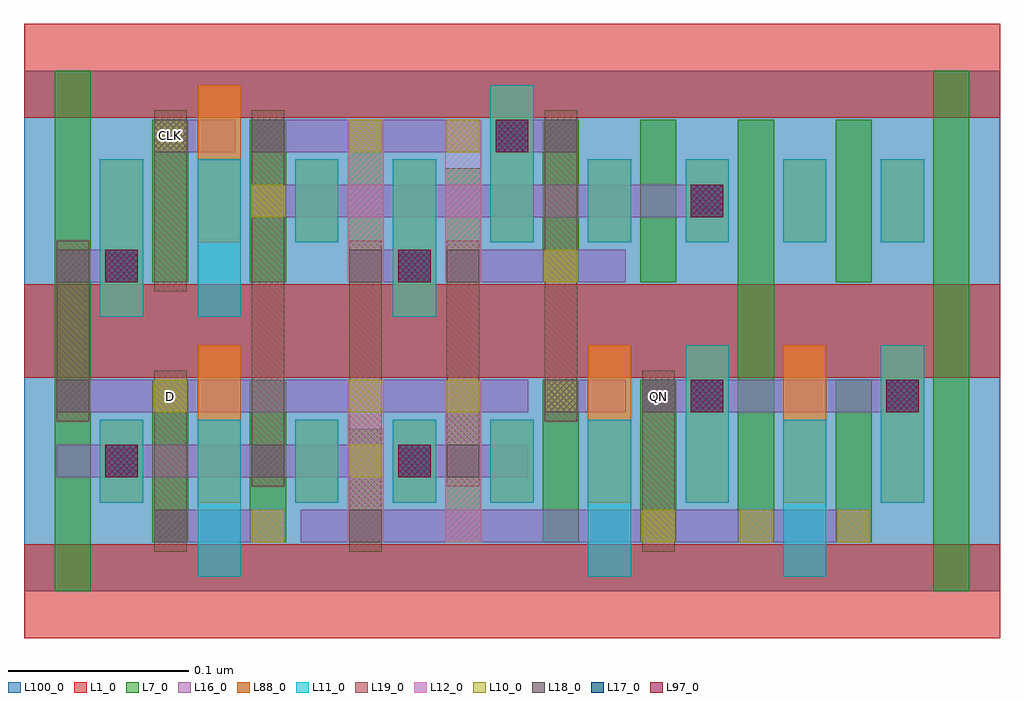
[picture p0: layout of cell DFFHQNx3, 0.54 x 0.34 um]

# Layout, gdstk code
import gdstk
lib = gdstk.Library(unit=1e-6, precision=2.5e-10)
def R(c, l, rs):  # rectangles x0, y0, x1, y1
    for r in rs: c.add(gdstk.rectangle(r[:2], r[2:], *l))
def A(c, l, x, y, w, h, nx, ny, dx, dy):  # array of equal rectangles
    R(c, l, [(x+i*dx, y+j*dy, x+i*dx+w, y+j*dy+h) for i in range(nx) for j in range(ny)])
L1_0 = (1, 0)
L7_0 = (7, 0)
L10_0 = (10, 0)
L11_0 = (11, 0)
L12_0 = (12, 0)
L16_0 = (16, 0)
L17_0 = (17, 0)
L18_0 = (18, 0)
L19_0 = (19, 0)
L88_0 = (88, 0)
L97_0 = (97, 0)
L100_0 = (100, 0)

dffhqnx3 = lib.new_cell('DFFHQNx3')
A(dffhqnx3, L1_0, 0, -0.026, 0.54, 0.052, 1, 3, 0, 0.144)
A(dffhqnx3, L7_0, 0.233, 0.027, 0.02, 0.09, 3, 1, 0.054, 0)
A(dffhqnx3, L7_0, 0.071, 0.171, 0.02, 0.09, 3, 1, 0.054, 0)
R(dffhqnx3, L7_0, [(0.017,0,0.037,0.144), (0.503,0,0.523,0.144), (0.071,0.027,0.091,0.117), (0.125,0.027,0.145,0.117), (0.179,0.027,0.199,0.09), (0.395,0.027,0.415,0.144), (0.449,0.027,0.469,0.117), (0.017,0.144,0.037,0.288), (0.395,0.144,0.415,0.261), (0.503,0.144,0.523,0.288), (0.233,0.171,0.253,0.234), (0.287,0.171,0.307,0.261), (0.341,0.171,0.361,0.261), (0.449,0.171,0.469,0.261)])
A(dffhqnx3, L10_0, 0.342, 0.027, 0.018, 0.018, 3, 1, 0.054, 0)
A(dffhqnx3, L10_0, 0.18, 0.099, 0.018, 0.018, 3, 1, 0.054, 0)
R(dffhqnx3, L10_0, [(0.126,0.027,0.144,0.045), (0.18,0.063,0.198,0.081), (0.072,0.099,0.09,0.117), (0.288,0.171,0.306,0.189), (0.126,0.207,0.144,0.225), (0.072,0.243,0.09,0.261), (0.18,0.243,0.198,0.261), (0.234,0.243,0.252,0.261)])
A(dffhqnx3, L11_0, 0.15, 0.049, 0.024, 0.046, 3, 1, 0.054, 0)
A(dffhqnx3, L11_0, 0.312, 0.193, 0.024, 0.046, 4, 1, 0.054, 0)
R(dffhqnx3, L11_0, [(0.096,0.008,0.12,0.095), (0.312,0.008,0.336,0.095), (0.42,0.008,0.444,0.095), (0.042,0.049,0.066,0.095), (0.366,0.049,0.39,0.136), (0.474,0.049,0.498,0.136), (0.042,0.152,0.066,0.239), (0.096,0.152,0.12,0.239), (0.204,0.152,0.228,0.239), (0.15,0.193,0.174,0.239), (0.258,0.193,0.282,0.28)])
R(dffhqnx3, L12_0, [(0.179,0.027,0.199,0.117), (0.233,0.027,0.253,0.117), (0.179,0.171,0.199,0.261), (0.233,0.171,0.253,0.261)])
R(dffhqnx3, L16_0, [(0.072,0.027,0.144,0.045), (0.153,0.027,0.468,0.045), (0.018,0.063,0.198,0.081), (0.207,0.063,0.279,0.081), (0.018,0.099,0.279,0.117), (0.288,0.099,0.333,0.117), (0.342,0.099,0.495,0.117), (0.018,0.171,0.063,0.189), (0.18,0.171,0.225,0.189), (0.234,0.171,0.333,0.189), (0.126,0.207,0.387,0.225), (0.072,0.243,0.117,0.261), (0.126,0.243,0.252,0.261), (0.261,0.243,0.306,0.261)])
R(dffhqnx3, L17_0, [(0.045,0.063,0.063,0.081), (0.207,0.063,0.225,0.081), (0.369,0.099,0.387,0.117), (0.477,0.099,0.495,0.117), (0.045,0.171,0.063,0.189), (0.207,0.171,0.225,0.189), (0.369,0.207,0.387,0.225), (0.261,0.243,0.279,0.261)])
R(dffhqnx3, L18_0, [(0.072,0.027,0.09,0.045), (0.18,0.027,0.198,0.045), (0.126,0.063,0.144,0.081), (0.234,0.063,0.252,0.081), (0.018,0.099,0.036,0.117), (0.288,0.099,0.306,0.117), (0.342,0.099,0.36,0.117), (0.018,0.171,0.036,0.189), (0.18,0.171,0.198,0.189), (0.234,0.171,0.252,0.189), (0.072,0.243,0.09,0.261), (0.126,0.243,0.144,0.261), (0.288,0.243,0.306,0.261)])
R(dffhqnx3, L19_0, [(0.072,0.022,0.09,0.122), (0.18,0.022,0.198,0.194), (0.342,0.022,0.36,0.122), (0.126,0.058,0.144,0.266), (0.234,0.058,0.252,0.194), (0.018,0.094,0.036,0.194), (0.288,0.094,0.306,0.266), (0.072,0.166,0.09,0.266)])
A(dffhqnx3, L88_0, 0.15, 0.049, 0.024, 0.046, 3, 1, 0.054, 0)
A(dffhqnx3, L88_0, 0.312, 0.049, 0.024, 0.087, 4, 1, 0.054, 0)
A(dffhqnx3, L88_0, 0.312, 0.193, 0.024, 0.046, 4, 1, 0.054, 0)
R(dffhqnx3, L88_0, [(0.042,0.049,0.066,0.095), (0.096,0.049,0.12,0.136), (0.042,0.152,0.066,0.239), (0.204,0.152,0.228,0.239), (0.096,0.193,0.12,0.28), (0.15,0.193,0.174,0.239), (0.258,0.193,0.282,0.28)])
R(dffhqnx3, L97_0, [(0.045,0.063,0.063,0.081), (0.207,0.063,0.225,0.081), (0.369,0.099,0.387,0.117), (0.477,0.099,0.495,0.117), (0.045,0.171,0.063,0.189), (0.207,0.171,0.225,0.189), (0.369,0.207,0.387,0.225), (0.261,0.243,0.279,0.261)])
R(dffhqnx3, L100_0, [(0,0,0.54,0.288)])
dffhqnx3.add(gdstk.Label('CLK', (0.081,0.252), layer=19, texttype=251))
dffhqnx3.add(gdstk.Label('D', (0.081,0.108), layer=19, texttype=251))
dffhqnx3.add(gdstk.Label('QN', (0.351,0.108), layer=19, texttype=251))

lib.write_gds('DFFHQNx3.gds')
